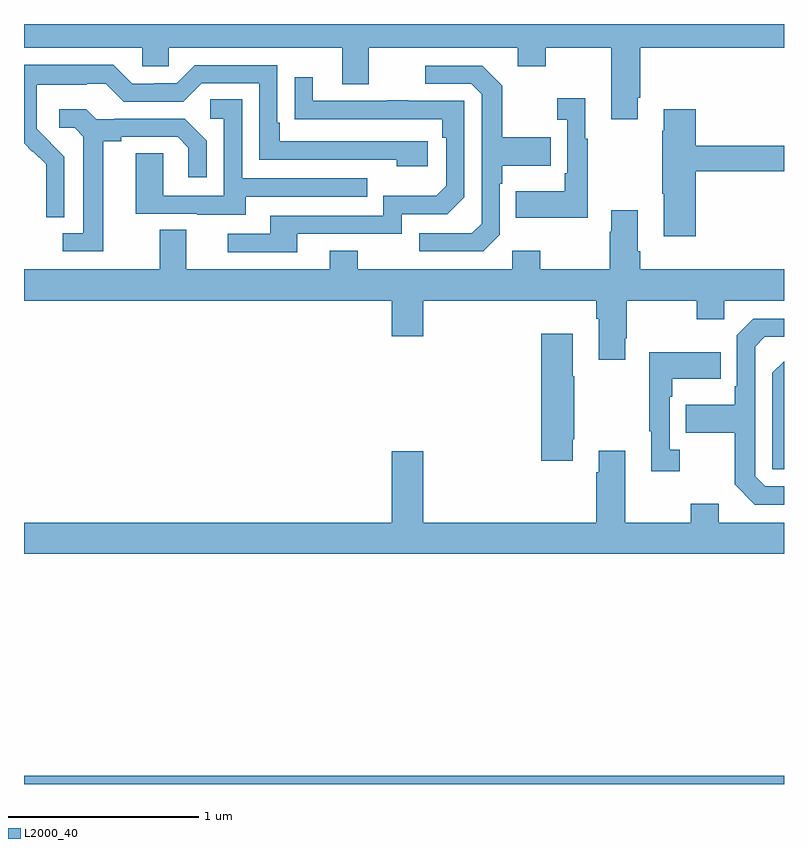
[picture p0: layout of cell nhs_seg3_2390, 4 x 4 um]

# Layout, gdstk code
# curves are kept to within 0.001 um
import gdstk
lib = gdstk.Library(unit=1e-6, precision=1e-09)
def R(c, l, rs):  # rectangles x0, y0, x1, y1
    for r in rs: c.add(gdstk.rectangle(r[:2], r[2:], *l))
def P(c, l, *ps):  # polygons
    for p in ps: c.add(gdstk.Polygon(p, *l))
L2000_40 = (2000, 40)

nhs_seg3_2390 = lib.new_cell('nhs_seg3_2390')
R(nhs_seg3_2390, L2000_40, [(235,670.4,239,670.444)])
P(nhs_seg3_2390, L2000_40, [(238.231,674.011),(238.244,674.011),(238.244,674.276),(239,674.276),(239,674.4),(235,674.4),(235,674.276),(235.623,674.276),(235.623,674.178),(235.761,674.178),(235.761,674.276),(236.675,674.276),(236.675,674.082),(236.815,674.082),(236.815,674.276),(237.599,674.276),(237.599,674.177),(237.747,674.177),(237.747,674.276),(238.091,674.276),(238.091,673.899),(238.231,673.899)],
  [(235.212,673.702),(235.066,673.85),(235.066,673.947),(235.068,673.947),(235.068,674.081),(235.331,674.081),(235.331,674.085),(235.431,674.085),(235.524,673.992),(235.839,673.992),(235.935,674.088),(236.238,674.088),(236.238,673.686),(236.963,673.686),(236.963,673.652),(237.124,673.652),(237.124,673.782),(236.347,673.782),(236.347,673.879),(236.334,673.879),(236.334,674.184),(235.899,674.184),(235.803,674.088),(235.685,674.088),(235.685,674.085),(235.569,674.085),(235.469,674.185),(235,674.185),(235,673.772),(235.044,673.728),(235.047,673.731),(235.118,673.661),(235.118,673.538),(235.116,673.538),(235.116,673.384),(235.212,673.384)],
  [(237.504,673.29),(237.504,673.559),(237.517,673.559),(237.517,673.655),(237.773,673.655),(237.773,673.803),(237.517,673.803),(237.517,674.075),(237.411,674.181),(237.111,674.181),(237.111,674.085),(237.354,674.085),(237.408,674.031),(237.408,673.35),(237.357,673.299),(237.081,673.299),(237.081,673.203),(237.417,673.203)],
  [(236.437,673.296),(236.988,673.296),(236.988,673.398),(237.228,673.398),(237.318,673.488),(237.318,673.995),(237.023,673.995),(237.023,674),(236.911,674),(236.911,673.995),(236.521,673.995),(236.521,674.119),(236.425,674.119),(236.425,673.9),(237.202,673.899),(237.202,673.802),(237.222,673.802),(237.222,673.548),(237.169,673.495),(236.892,673.495),(236.892,673.392),(236.297,673.392),(236.297,673.296),(236.073,673.296),(236.073,673.2),(236.437,673.2)],
  [(237.967,673.795),(237.955,673.795),(237.955,674.008),(237.807,674.008),(237.807,673.895),(237.858,673.895),(237.858,673.615),(237.846,673.615),(237.846,673.519),(237.589,673.519),(237.589,673.379),(237.967,673.379)],
  [(236.167,673.491),(236.807,673.491),(236.807,673.587),(236.148,673.587),(236.148,674.003),(235.98,674.003),(235.98,673.902),(236.052,673.902),(236.052,673.497),(235.734,673.497),(235.734,673.721),(235.589,673.721),(235.589,673.401),(235.913,673.401),(235.913,673.397),(236.167,673.397)],
  [(235.417,673.784),(235.513,673.784),(235.513,673.806),(235.808,673.806),(235.865,673.749),(235.865,673.593),(235.962,673.593),(235.962,673.786),(235.846,673.902),(235.474,673.902),(235.474,673.899),(235.38,673.899),(235.328,673.951),(235.185,673.951),(235.185,673.854),(235.266,673.854),(235.313,673.807),(235.313,673.299),(235.203,673.299),(235.203,673.203),(235.417,673.203)],
  [(238.535,673.624),(239,673.624),(239,673.76),(238.535,673.76),(238.535,673.951),(238.367,673.951),(238.367,673.838),(238.36,673.838),(238.36,673.507),(238.367,673.507),(238.367,673.284),(238.535,673.284)],
  [(238.165,672.745),(238.173,672.745),(238.173,672.944),(238.54,672.944),(238.54,672.845),(238.686,672.845),(238.686,672.944),(239,672.944),(239,673.108),(238.244,673.108),(238.244,673.204),(238.231,673.204),(238.231,673.42),(238.091,673.42),(238.091,673.307),(238.084,673.307),(238.084,673.108),(237.717,673.108),(237.717,673.207),(237.57,673.207),(237.57,673.108),(236.757,673.108),(236.757,673.207),(236.609,673.207),(236.609,673.108),(235.855,673.108),(235.855,673.316),(235.715,673.316),(235.715,673.108),(235,673.108),(235,672.944),(236.936,672.944),(236.936,672.756),(237.1,672.756),(237.1,672.944),(238.013,672.944),(238.013,672.848),(238.025,672.848),(238.025,672.633),(238.165,672.633)],
  [(239,671.967),(238.902,671.967),(238.848,672.021),(238.848,672.702),(238.899,672.753),(239,672.753),(239,672.849),(238.839,672.849),(238.752,672.762),(238.752,672.493),(238.74,672.493),(238.74,672.397),(238.483,672.397),(238.483,672.25),(238.74,672.25),(238.74,671.977),(238.845,671.871),(239,671.871)],
  [(237.889,672.214),(237.897,672.214),(237.897,672.545),(237.889,672.545),(237.889,672.769),(237.722,672.769),(237.722,672.102),(237.889,672.102)],
  [(238.45,672.158),(238.398,672.158),(238.398,672.437),(238.411,672.437),(238.411,672.533),(238.667,672.533),(238.667,672.673),(238.29,672.673),(238.29,672.257),(238.301,672.257),(238.301,672.045),(238.45,672.045)],
  [(239,672.626),(238.938,672.564),(238.938,672.057),(239,672.057)],
  [(239,671.776),(238.657,671.776),(238.657,671.875),(238.51,671.875),(238.51,671.776),(238.165,671.776),(238.165,672.154),(238.025,672.154),(238.025,672.041),(238.013,672.041),(238.013,671.776),(237.1,671.776),(237.1,672.151),(236.936,672.151),(236.936,671.776),(235,671.776),(235,671.612),(239,671.612)])

lib.write_gds('nhs_seg3_2390.gds')
